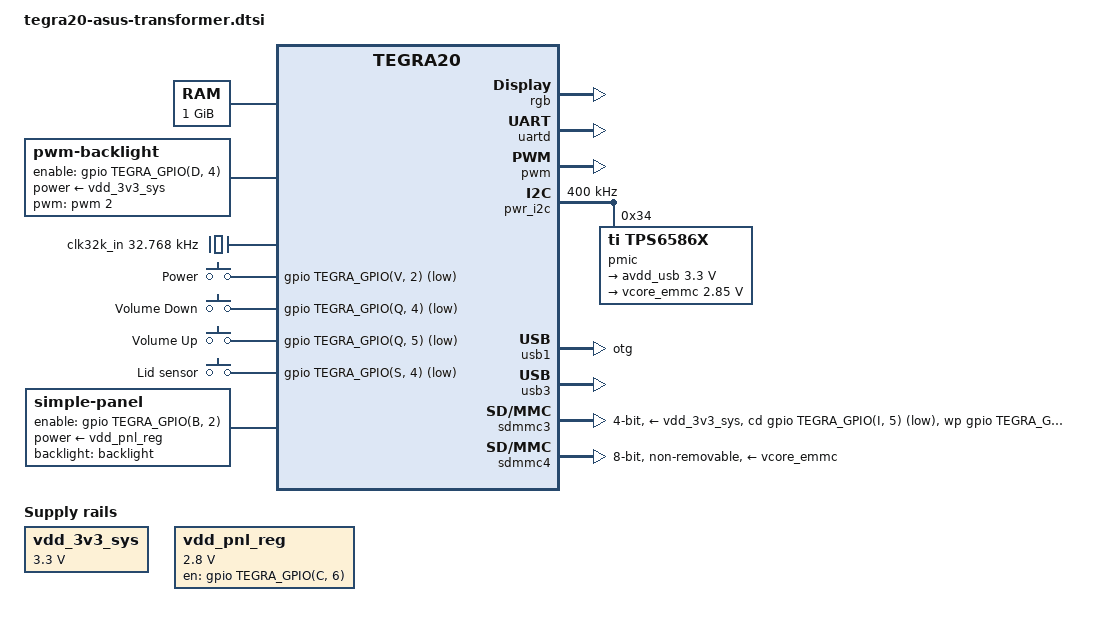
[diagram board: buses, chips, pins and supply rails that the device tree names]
// SPDX-License-Identifier: GPL-2.0

#include <dt-bindings/input/input.h>
#include "tegra20.dtsi"

/ {
	chosen {
		stdout-path = &uartd;
	};

	aliases {
		i2c0 = &pwr_i2c;

		mmc0 = &sdmmc4; /* eMMC */
		mmc1 = &sdmmc3; /* MicroSD */

		rtc0 = &pmic;
		rtc1 = "/rtc@7000e000";

		usb0 = &usb1;
		usb1 = &usb3; /* Dock USB */
	};

	memory {
		device_type = "memory";
		reg = <0x00000000 0x40000000>;
	};

	host1x@50000000 {
		dc@54200000 {
			rgb {
				status = "okay";

				nvidia,panel = <&panel>;
			};
		};
	};

	pinmux@70000014 {
		pinctrl-names = "default";
		pinctrl-0 = <&state_default>;

		state_default: pinmux {
			ata {
				nvidia,pins = "ata";
				nvidia,function = "ide";
			};

			atb {
				nvidia,pins = "atb", "gma", "gme";
				nvidia,function = "sdio4";
			};

			atc {
				nvidia,pins = "atc";
				nvidia,function = "nand";
			};

			atd {
				nvidia,pins = "atd", "ate", "gmb", "spia",
					"spib", "spic";
				nvidia,function = "gmi";
			};

			cdev1 {
				nvidia,pins = "cdev1";
				nvidia,function = "plla_out";
			};

			cdev2 {
				nvidia,pins = "cdev2";
				nvidia,function = "pllp_out4";
			};

			crtp {
				nvidia,pins = "crtp";
				nvidia,function = "crt";
			};

			lm1 {
				nvidia,pins = "lm1";
				nvidia,function = "rsvd3";
			};

			csus {
				nvidia,pins = "csus";
				nvidia,function = "vi_sensor_clk";
			};

			dap1 {
				nvidia,pins = "dap1";
				nvidia,function = "dap1";
			};

			dap2 {
				nvidia,pins = "dap2";
				nvidia,function = "dap2";
			};

			dap3 {
				nvidia,pins = "dap3";
				nvidia,function = "dap3";
			};

			dap4 {
				nvidia,pins = "dap4";
				nvidia,function = "dap4";
			};

			dta {
				nvidia,pins = "dta", "dtb", "dtc", "dtd", "dte";
				nvidia,function = "vi";
			};

			dtf {
				nvidia,pins = "dtf";
				nvidia,function = "i2c3";
			};

			gmc {
				nvidia,pins = "gmc";
				nvidia,function = "uartd";
			};

			gmd {
				nvidia,pins = "gmd";
				nvidia,function = "sflash";
			};

			gpu {
				nvidia,pins = "gpu";
				nvidia,function = "pwm";
			};

			gpu7 {
				nvidia,pins = "gpu7";
				nvidia,function = "rtck";
			};

			gpv {
				nvidia,pins = "gpv", "slxa";
				nvidia,function = "pcie";
			};

			hdint {
				nvidia,pins = "hdint";
				nvidia,function = "hdmi";
			};

			i2cp {
				nvidia,pins = "i2cp";
				nvidia,function = "i2cp";
			};

			irrx {
				nvidia,pins = "irrx", "irtx";
				nvidia,function = "uartb";
			};

			kbca {
				nvidia,pins = "kbca", "kbcb", "kbcc", "kbcd",
					"kbce", "kbcf";
				nvidia,function = "kbc";
			};

			lcsn {
				nvidia,pins = "lcsn", "ldc", "lm0", "lpw1",
					"lsdi", "lvp0";
				nvidia,function = "rsvd4";
			};

			ld0 {
				nvidia,pins = "ld0", "ld1", "ld2", "ld3", "ld4",
					"ld5", "ld6", "ld7", "ld8", "ld9",
					"ld10", "ld11", "ld12", "ld13", "ld14",
					"ld15", "ld16", "ld17", "ldi", "lhp0",
					"lhp1", "lhp2", "lhs", "lpp", "lpw0",
					"lpw2", "lsc0", "lsc1", "lsck", "lsda",
					"lspi", "lvp1", "lvs";
				nvidia,function = "displaya";
			};

			owc {
				nvidia,pins = "owc", "spdi", "spdo", "uac";
				nvidia,function = "rsvd2";
			};

			pmc {
				nvidia,pins = "pmc";
				nvidia,function = "pwr_on";
			};

			rm {
				nvidia,pins = "rm";
				nvidia,function = "i2c1";
			};

			sdb {
				nvidia,pins = "sdb", "sdc", "sdd", "slxc", "slxk";
				nvidia,function = "sdio3";
			};

			sdio1 {
				nvidia,pins = "sdio1";
				nvidia,function = "sdio1";
			};

			slxd {
				nvidia,pins = "slxd";
				nvidia,function = "spdif";
			};

			spid {
				nvidia,pins = "spid", "spie", "spif";
				nvidia,function = "spi1";
			};

			spig {
				nvidia,pins = "spig", "spih";
				nvidia,function = "spi2_alt";
			};

			uaa {
				nvidia,pins = "uaa", "uab", "uda";
				nvidia,function = "ulpi";
			};

			uad {
				nvidia,pins = "uad";
				nvidia,function = "irda";
			};

			uca {
				nvidia,pins = "uca", "ucb";
				nvidia,function = "uartc";
			};

			conf_ata {
				nvidia,pins = "ata", "atb", "atc", "atd",
					"cdev1", "cdev2", "dap1", "dap4",
					"dte", "ddc", "dtf", "gma", "gmc",
					"gme", "gpu", "gpu7", "gpv", "i2cp",
					"irrx", "irtx", "pta", "rm", "sdc",
					"sdd", "slxc", "slxd", "slxk", "spdi",
					"spdo", "uac", "uad",
					"uda", "csus";
				nvidia,pull = <TEGRA_PIN_PULL_NONE>;
				nvidia,tristate = <TEGRA_PIN_DISABLE>;
			};

			conf_ate {
				nvidia,pins = "ate", "dap2", "dap3", "gmb", "gmd",
					"owc", "spia", "spib", "spic",
					"spid", "spie", "spig", "slxa";
				nvidia,pull = <TEGRA_PIN_PULL_NONE>;
				nvidia,tristate = <TEGRA_PIN_ENABLE>;
			};

			conf_ck32 {
				nvidia,pins = "ck32", "ddrc", "pmca", "pmcb",
					"pmcc", "pmcd", "pmce", "xm2c", "xm2d";
				nvidia,pull = <TEGRA_PIN_PULL_NONE>;
			};

			conf_crtp {
				nvidia,pins = "crtp", "spih";
				nvidia,pull = <TEGRA_PIN_PULL_UP>;
				nvidia,tristate = <TEGRA_PIN_ENABLE>;
			};

			conf_dta {
				nvidia,pins = "dta", "dtb", "dtc", "dtd";
				nvidia,pull = <TEGRA_PIN_PULL_DOWN>;
				nvidia,tristate = <TEGRA_PIN_DISABLE>;
			};

			conf_spif {
				nvidia,pins = "spif";
				nvidia,pull = <TEGRA_PIN_PULL_DOWN>;
				nvidia,tristate = <TEGRA_PIN_ENABLE>;
			};

			conf_hdint {
				nvidia,pins = "hdint", "lcsn", "ldc", "lm1",
					"lpw1", "lsck", "lsda", "lsdi", "lvp0";
				nvidia,tristate = <TEGRA_PIN_ENABLE>;
			};

			conf_kbca {
				nvidia,pins = "kbca", "kbcb", "kbcc", "kbcd",
					"kbce", "kbcf", "sdio1", "uaa", "uab",
					"uca", "ucb";
				nvidia,pull = <TEGRA_PIN_PULL_UP>;
				nvidia,tristate = <TEGRA_PIN_DISABLE>;
			};

			conf_lc {
				nvidia,pins = "lc", "ls";
				nvidia,pull = <TEGRA_PIN_PULL_UP>;
			};

			conf_ld0 {
				nvidia,pins = "ld0", "ld1", "ld2", "ld3", "ld4",
					"ld5", "ld6", "ld7", "ld8", "ld9",
					"ld10", "ld11", "ld12", "ld13", "ld14",
					"ld15", "ld16", "ld17", "ldi", "lhp0",
					"lhp1", "lhp2", "lhs", "lm0", "lpp",
					"lpw0", "lpw2", "lsc0", "lsc1", "lspi",
					"lvp1", "lvs", "pmc", "sdb";
				nvidia,tristate = <TEGRA_PIN_DISABLE>;
			};

			conf_ld17_0 {
				nvidia,pins = "ld17_0", "ld19_18", "ld21_20",
					"ld23_22";
				nvidia,pull = <TEGRA_PIN_PULL_DOWN>;
			};

			drive_sdio1 {
				nvidia,pins = "drive_sdio1", "drive_ddc", "drive_vi1";
				nvidia,high-speed-mode = <TEGRA_PIN_DISABLE>;
				nvidia,schmitt = <TEGRA_PIN_ENABLE>;
				nvidia,low-power-mode = <TEGRA_PIN_LP_DRIVE_DIV_1>;
				nvidia,pull-down-strength = <31>;
				nvidia,pull-up-strength = <31>;
				nvidia,slew-rate-rising = <TEGRA_PIN_SLEW_RATE_SLOWEST>;
				nvidia,slew-rate-falling = <TEGRA_PIN_SLEW_RATE_SLOWEST>;
			};

			drive_csus {
				nvidia,pins = "drive_csus";
				nvidia,high-speed-mode = <TEGRA_PIN_DISABLE>;
				nvidia,schmitt = <TEGRA_PIN_DISABLE>;
				nvidia,low-power-mode = <TEGRA_PIN_LP_DRIVE_DIV_1>;
				nvidia,pull-down-strength = <31>;
				nvidia,pull-up-strength = <31>;
				nvidia,slew-rate-rising = <TEGRA_PIN_SLEW_RATE_SLOWEST>;
				nvidia,slew-rate-falling = <TEGRA_PIN_SLEW_RATE_SLOWEST>;
			};
		};

		state_i2cmux_ddc: pinmux-i2cmux-ddc {
			ddc {
				nvidia,pins = "ddc";
				nvidia,function = "i2c2";
			};

			pta {
				nvidia,pins = "pta";
				nvidia,function = "rsvd4";
			};
		};

		state_i2cmux_idle: pinmux-i2cmux-idle {
			ddc {
				nvidia,pins = "ddc";
				nvidia,function = "rsvd4";
			};

			pta {
				nvidia,pins = "pta";
				nvidia,function = "rsvd4";
			};
		};

		state_i2cmux_pta: pinmux-i2cmux-pta {
			ddc {
				nvidia,pins = "ddc";
				nvidia,function = "rsvd4";
			};

			pta {
				nvidia,pins = "pta";
				nvidia,function = "i2c2";
			};
		};
	};

	uartd: serial@70006300 {
		status = "okay";
		clock-frequency = <216000000>;
	};

	pwm: pwm@7000a000 {
		status = "okay";
	};

	pwr_i2c: i2c@7000d000 {
		status = "okay";
		clock-frequency = <400000>;

		pmic: tps6586x@34 {
			compatible = "ti,tps6586x";
			reg = <0x34>;
			interrupts = <GIC_SPI 86 IRQ_TYPE_LEVEL_HIGH>;

			ti,system-power-controller;

			#gpio-cells = <2>;
			gpio-controller;

			regulators {
				avdd_usb: ldo3 {
					regulator-name = "vdd_ldo3,avdd_usb*";
					regulator-min-microvolt = <3300000>;
					regulator-max-microvolt = <3300000>;
					regulator-always-on;
					regulator-boot-on;
				};

				vcore_emmc: ldo5 {
					regulator-name = "vdd_ldo5,vcore_mmc";
					regulator-min-microvolt = <2850000>;
					regulator-max-microvolt = <2850000>;
				};
			};
		};
	};

	/* USB via ASUS connector */
	usb1: usb@c5000000 {
		status = "okay";
		dr_mode = "otg";
	};

	usb-phy@c5000000 {
		status = "okay";
		nvidia,xcvr-setup-use-fuses;
	};

	/* Dock's USB port */
	usb3: usb@c5008000 {
		status = "okay";
	};

	sdmmc3: sdhci@c8000400 {
		status = "okay";
		bus-width = <4>;

		cd-gpios = <&gpio TEGRA_GPIO(I, 5) GPIO_ACTIVE_LOW>;
		wp-gpios = <&gpio TEGRA_GPIO(H, 1) GPIO_ACTIVE_HIGH>;
		power-gpios = <&gpio TEGRA_GPIO(I, 6) GPIO_ACTIVE_HIGH>;

		vmmc-supply = <&vdd_3v3_sys>;
		vqmmc-supply = <&vdd_3v3_sys>;
	};

	sdmmc4: sdhci@c8000600 {
		status = "okay";
		bus-width = <8>;
		non-removable;

		vmmc-supply = <&vcore_emmc>;
		vqmmc-supply = <&vdd_3v3_sys>;
	};

	backlight: backlight {
		compatible = "pwm-backlight";

		enable-gpios = <&gpio TEGRA_GPIO(D, 4) GPIO_ACTIVE_HIGH>;
		power-supply = <&vdd_3v3_sys>;
		pwms = <&pwm 2 4000000>;

		brightness-levels = <1 35 70 105 140 175 210 255>;
		default-brightness-level = <5>;
	};

	/* PMIC has a built-in 32KHz oscillator which is used by PMC */
	clk32k_in: clock-32k-in {
		compatible = "fixed-clock";
		#clock-cells = <0>;
		clock-frequency = <32768>;
		clock-output-names = "pmic-oscillator";
	};

	gpio-keys {
		compatible = "gpio-keys";

		key-power {
			label = "Power";
			gpios = <&gpio TEGRA_GPIO(V, 2) GPIO_ACTIVE_LOW>;
			linux,code = <KEY_ENTER>;
		};

		key-volume-down {
			label = "Volume Down";
			gpios = <&gpio TEGRA_GPIO(Q, 4) GPIO_ACTIVE_LOW>;
			linux,code = <KEY_DOWN>;
		};

		key-volume-up {
			label = "Volume Up";
			gpios = <&gpio TEGRA_GPIO(Q, 5) GPIO_ACTIVE_LOW>;
			linux,code = <KEY_UP>;
		};

		switch-dock-hall-sensor {
			label = "Lid sensor";
			gpios = <&gpio TEGRA_GPIO(S, 4) GPIO_ACTIVE_LOW>;
			linux,code = <SW_LID>;
		};
	};

	panel: panel {
		compatible = "simple-panel";

		power-supply = <&vdd_pnl_reg>;
		enable-gpios = <&gpio TEGRA_GPIO(B, 2) GPIO_ACTIVE_HIGH>;

		backlight = <&backlight>;

		display-timings {
			timing@0 {
				clock-frequency = <71200000>;

				hactive = <1280>;
				hfront-porch = <8>;
				hback-porch = <18>;
				hsync-len = <184>;

				vactive = <800>;
				vfront-porch = <4>;
				vback-porch = <8>;
				vsync-len = <3>;
			};
		};
	};

	vdd_3v3_sys: regulator-3v3 {
		compatible = "regulator-fixed";
		regulator-name = "vdd_3v3_vs";
		regulator-min-microvolt = <3300000>;
		regulator-max-microvolt = <3300000>;
		regulator-always-on;
	};

	vdd_pnl_reg: regulator-pnl {
		compatible = "regulator-fixed";
		regulator-name = "vdd_panel";
		regulator-min-microvolt = <2800000>;
		regulator-max-microvolt = <2800000>;
		gpio = <&gpio TEGRA_GPIO(C, 6) GPIO_ACTIVE_HIGH>;
		enable-active-high;
	};
};
